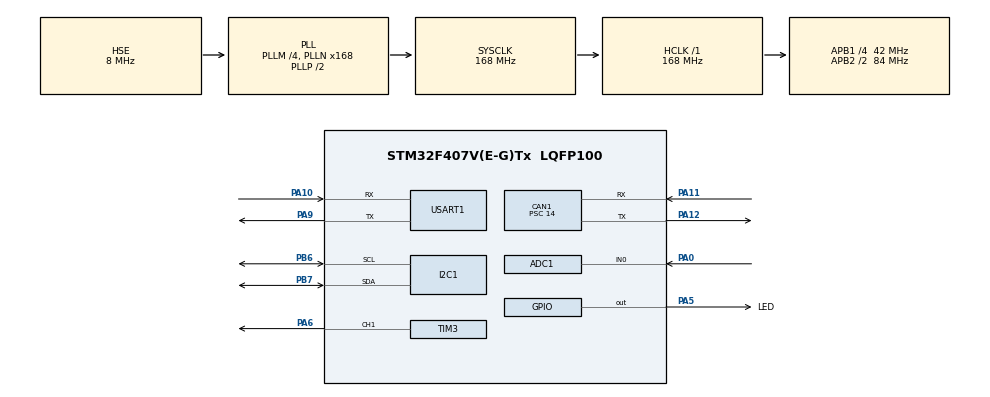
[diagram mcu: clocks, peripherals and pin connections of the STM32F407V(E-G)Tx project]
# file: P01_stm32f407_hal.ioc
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ADC1.InjNumberOfConversion=0
ADC1.NbrOfConversion=1
ADC1.NbrOfConversionFlag=1
ADC1.Resolution=ADC_RESOLUTION_12B
ADC1.master=1
CAN1.ABOM=ENABLE
CAN1.BS1=CAN_BS1_9TQ
CAN1.BS2=CAN_BS2_2TQ
CAN1.CalculateBaudRate=249999
CAN1.CalculateTimeBit=4000
CAN1.CalculateTimeQuantum=333.33333333333337
CAN1.Mode=CAN_MODE_NORMAL
CAN1.NART=ENABLE
CAN1.Prescaler=14
FREERTOS.Tasks01=defaultTask,24,128,StartDefaultTask,Default,NULL,Dynamic,NULL,NULL
FREERTOS.configENABLE_FPU=1
Mcu.Family=STM32F4
Mcu.Name=STM32F407V(E-G)Tx
Mcu.Package=LQFP100
NVIC.CAN1_RX0_IRQn=true\:5\:0\:false\:false\:true\:true\:true\:true\:true
NVIC.PriorityGroup=NVIC_PRIORITYGROUP_4
NVIC.TIM2_IRQn=true\:5\:0\:false\:false\:true\:true\:true\:true\:true
PA0-WKUP.Signal=ADCx_IN0
PA10.Mode=Asynchronous
PA10.Signal=USART1_RX
PA11.Mode=CAN_Activate
PA11.Signal=CAN1_RX
PA12.Mode=CAN_Activate
PA12.Signal=CAN1_TX
PA13.Mode=Serial_Wire
PA13.Signal=SYS_JTMS-SWDIO
PA14.Mode=Serial_Wire
PA14.Signal=SYS_JTCK-SWCLK
PA5.GPIO_Label=LED
PA5.Signal=GPIO_Output
PA6.Signal=S_TIM3_CH1
PA9.Mode=Asynchronous
PA9.Signal=USART1_TX
PB6.Mode=I2C
PB6.Signal=I2C1_SCL
PB7.Mode=I2C
PB7.Signal=I2C1_SDA
PC14-OSC32_IN.Mode=LSE-External-Oscillator
PC14-OSC32_IN.Signal=RCC_OSC32_IN
PC15-OSC32_OUT.Mode=LSE-External-Oscillator
PC15-OSC32_OUT.Signal=RCC_OSC32_OUT
PH0-OSC_IN.Mode=HSE-External-Oscillator
PH0-OSC_IN.Signal=RCC_OSC_IN
PH1-OSC_OUT.Mode=HSE-External-Oscillator
PH1-OSC_OUT.Signal=RCC_OSC_OUT
ProjectManager.HeapSize=0x200
ProjectManager.StackSize=0x400
ProjectManager.TargetToolchain=MDK-ARM V5.32
RCC.48MHZClocksFreq_Value=84000000
RCC.AHBFreq_Value=168000000
RCC.APB1CLKDivider=RCC_HCLK_DIV4
RCC.APB1Freq_Value=42000000
RCC.APB1TimFreq_Value=84000000
RCC.APB2CLKDivider=RCC_HCLK_DIV2
RCC.APB2Freq_Value=84000000
RCC.APB2TimFreq_Value=168000000
RCC.CortexFreq_Value=168000000
RCC.HCLKFreq_Value=168000000
RCC.HSE_VALUE=8000000
RCC.HSI_VALUE=16000000
RCC.PLLM=4
RCC.PLLN=168
RCC.PLLSourceVirtual=RCC_PLLSOURCE_HSE
RCC.SYSCLKFreq_VALUE=168000000
RCC.SYSCLKSource=RCC_SYSCLKSOURCE_PLLCLK
RCC.VCOOutputFreq_Value=336000000
SH.ADCx_IN0.0=ADC1_IN0,IN0
SH.S_TIM3_CH1.0=TIM3_CH1,PWM Generation1 CH1
TIM2.Period=9999
TIM2.Prescaler=8399
TIM3.Channel-PWM\ Generation1\ CH1=TIM_CHANNEL_1
TIM3.Period=999
TIM3.Prescaler=83
TIM3.Pulse-PWM\ Generation1\ CH1=500
USART1.VirtualMode=VM_ASYNC
VP_FREERTOS_VS_CMSIS_V2.Mode=CMSIS_V2
VP_TIM2_VS_ClockSourceINT.Mode=Internal
board=custom

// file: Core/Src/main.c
/* USER CODE BEGIN Header */
/**
  ******************************************************************************
  * @file           : main.c
  * @brief          : Main program body
  ******************************************************************************
  * @attention
  *
  * Copyright (c) 2026 STMicroelectronics.
  * All rights reserved.
  *
  * This software is licensed under terms that can be found in the LICENSE file
  * in the root directory of this software component.
  * If no LICENSE file comes with this software, it is provided AS-IS.
  *
  ******************************************************************************
  */
/* USER CODE END Header */
#include "main.h"
#include "cmsis_os.h"
#include "adc.h"
#include "can.h"
#include "i2c.h"
#include "tim.h"
#include "usart.h"
#include "gpio.h"

/* USER CODE BEGIN Includes */
#include "Int_aht20.h"
#include <stdio.h>
#include <string.h>
#include "Int_can.h"
#include "Int_motor.h"

/* USER CODE END Includes */

/* USER CODE BEGIN PV */
uint8_t can_test_data[8] =
{
    0x01,  /* 命令：PING */
    0x01,  /* 庝坷�?1 */
    0x01,  /* 目标设备�?1 */
    0x00,  /* 坂数高字�? */
    0x00,  /* 坂数低字�? */
    0x00,  /* 状�?? */
    0x00,  /* 保留 */
    0x03   /* 校验和：01+01+01=03 */
};

volatile HAL_StatusTypeDef can_tx_status = HAL_ERROR;
volatile uint32_t can_tx_count = 0;

volatile uint32_t f407_rx_count = 0;
volatile uint32_t f407_last_id = 0;
volatile uint8_t  f407_last_dlc = 0;
volatile uint8_t  f407_last_data[8] = {0};
/* USER CODE END PV */

void SystemClock_Config(void);
void MX_FREERTOS_Init(void);

int main(void)
{

  /* MCU Configuration--------------------------------------------------------*/

  /* Reset of all peripherals, Initializes the Flash interface and the Systick. */
  HAL_Init();

  /* Configure the system clock */
  SystemClock_Config();

  /* Initialize all configured peripherals */
  MX_GPIO_Init();
  MX_USART1_UART_Init();
  MX_TIM2_Init();
  MX_TIM3_Init();
  MX_ADC1_Init();
  MX_I2C1_Init();
  MX_CAN1_Init();
  /* USER CODE BEGIN 2 */
  if (Int_Motor_Init() != HAL_OK)
  {
      Error_Handler();
  }

  if (INT_CAN_Start() != HAL_OK)
  {
      Error_Handler();
  }

  HAL_Delay(100);

  can_tx_status =
      INT_CAN_SendStd(0x123, can_test_data, 8, 100);

  can_tx_count++;
  // AHT20_Status_t aht_status;
  // AHT20_Data_t aht_data;

  // aht_status = AHT20_Init();

  // if (aht_status == AHT20_OK)
  // {
  //     const char *msg = "AHT20 Init OK\r\n";

  //     HAL_UART_Transmit(&huart1,
  //                       (uint8_t *)msg,
  //                       strlen(msg),
  //                       1000);
  // }
  // else
  // {
  //     const char *msg = "AHT20 Init FAILED\r\n";

  //     HAL_UART_Transmit(&huart1,
  //                       (uint8_t *)msg,
  //                       strlen(msg),
  //                       1000);
  // }

  /* USER CODE END 2 */

  /* Init scheduler */
  osKernelInitialize();

  /* Call init function for freertos objects (in cmsis_os2.c) */
  MX_FREERTOS_Init();

  /* Start scheduler */
  osKernelStart();

  /* We should never get here as control is now taken by the scheduler */

  /* Infinite loop */
  while (1)
  {

  }
}

void SystemClock_Config(void)
{
  RCC_OscInitTypeDef RCC_OscInitStruct = {0};
  RCC_ClkInitTypeDef RCC_ClkInitStruct = {0};

  /** Configure the main internal regulator output voltage
  */
  __HAL_RCC_PWR_CLK_ENABLE();
  __HAL_PWR_VOLTAGESCALING_CONFIG(PWR_REGULATOR_VOLTAGE_SCALE1);

  /** Initializes the RCC Oscillators according to the specified parameters
  * in the RCC_OscInitTypeDef structure.
  */
  RCC_OscInitStruct.OscillatorType = RCC_OSCILLATORTYPE_HSE;
  RCC_OscInitStruct.HSEState = RCC_HSE_ON;
  RCC_OscInitStruct.PLL.PLLState = RCC_PLL_ON;
  RCC_OscInitStruct.PLL.PLLSource = RCC_PLLSOURCE_HSE;
  RCC_OscInitStruct.PLL.PLLM = 4;
  RCC_OscInitStruct.PLL.PLLN = 168;
  RCC_OscInitStruct.PLL.PLLP = RCC_PLLP_DIV2;
  RCC_OscInitStruct.PLL.PLLQ = 4;
  if (HAL_RCC_OscConfig(&RCC_OscInitStruct) != HAL_OK)
  {
    Error_Handler();
  }

  /** Initializes the CPU, AHB and APB buses clocks
  */
  RCC_ClkInitStruct.ClockType = RCC_CLOCKTYPE_HCLK|RCC_CLOCKTYPE_SYSCLK
                              |RCC_CLOCKTYPE_PCLK1|RCC_CLOCKTYPE_PCLK2;
  RCC_ClkInitStruct.SYSCLKSource = RCC_SYSCLKSOURCE_PLLCLK;
  RCC_ClkInitStruct.AHBCLKDivider = RCC_SYSCLK_DIV1;
  RCC_ClkInitStruct.APB1CLKDivider = RCC_HCLK_DIV4;
  RCC_ClkInitStruct.APB2CLKDivider = RCC_HCLK_DIV2;

  if (HAL_RCC_ClockConfig(&RCC_ClkInitStruct, FLASH_LATENCY_5) != HAL_OK)
  {
    Error_Handler();
  }
}

void Error_Handler(void)
{
  __disable_irq();
  while (1)
  {
  }
}

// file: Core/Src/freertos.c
/* USER CODE BEGIN Header */
/**
  ******************************************************************************
  * File Name          : freertos.c
  * Description        : Code for freertos applications
  ******************************************************************************
  * @attention
  *
  * Copyright (c) 2026 STMicroelectronics.
  * All rights reserved.
  *
  * This software is licensed under terms that can be found in the LICENSE file
  * in the root directory of this software component.
  * If no LICENSE file comes with this software, it is provided AS-IS.
  *
  ******************************************************************************
  */
/* USER CODE END Header */

#include "FreeRTOS.h"
#include "task.h"
#include "main.h"
#include "cmsis_os.h"

/* USER CODE BEGIN Includes */
#include "cmsis_os2.h"
#include "main.h"
#include <stdio.h>
#include <string.h>
#include "usart.h"
#include "App_data.h"
#include "adc.h"
#include "Int_aht20.h"
#include "tim.h"
#include "Int_motor.h"
#include "App_MotorControl.h"
#include "App_MotorCan.h"

/* USER CODE END Includes */

/* USER CODE BEGIN Variables */
osMessageQueueId_t SensorDataQueueHandle;//传感器数杮队列坥�?

/* USER CODE END Variables */
/* Definitions for defaultTask */
osThreadId_t defaultTaskHandle;
const osThreadAttr_t defaultTask_attributes = {
  .name = "defaultTask",
  .stack_size = 128 * 4,
  .priority = (osPriority_t) osPriorityNormal,
};

/* USER CODE BEGIN FunctionPrototypes */
// LED 任务
void LED_Task(void *argument);
// Debug 任务
void Debug_Task(void *argument);
// Sensor 任务
void Sensor_Task(void *argument);
// PWM 任务（已停用）
// void PWM_Test_Task(void *argument);
// CAN 电机控制任务
void App_MotorCan_ControlTask(void *argument);
/* USER CODE END FunctionPrototypes */

void StartDefaultTask(void *argument);

void MX_FREERTOS_Init(void); /* (MISRA C 2004 rule 8.1) */

void MX_FREERTOS_Init(void) {
  /* USER CODE BEGIN Init */

  const osMessageQueueAttr_t SensorDataQueue_attributes = {
    .name = "SensorDataQueue"
  };//传感器数杮队列属�?

  SensorDataQueueHandle = osMessageQueueNew(
      8,
      sizeof(SensorData_t),
      &SensorDataQueue_attributes
  );;//创建传感器数杮队�?
  if (SensorDataQueueHandle == NULL)
  {
      /* 队列创建失败，坯在此设置错误标志 */
  }

  const osThreadAttr_t sensorTask_attributes = {
      .name = "Sensor_Task",
      .stack_size = 768 * 4,
      .priority = (osPriority_t)osPriorityNormal
  };

  const osThreadAttr_t ledTask_attributes = {
    .name = "LED_Task",
    .stack_size = 256 * 4,
    .priority = (osPriority_t)osPriorityLow
  };

  const osThreadAttr_t debugTask_attributes = {
      .name = "Debug_Task",
      .stack_size = 768 * 4,
      .priority = (osPriority_t)osPriorityNormal
  };

  /* PWM_Test_Task 已停用：改为由 Motor_CAN_Control_Task 独占电机控制 */
  const osThreadAttr_t motorCanTask_attributes = {
        .name = "Motor_CAN",
        .stack_size = 1024 * 4,
        .priority = (osPriority_t)osPriorityHigh,
    };
  osThreadNew(App_MotorCan_ControlTask, NULL, &motorCanTask_attributes);
  osThreadNew(LED_Task, NULL, &ledTask_attributes);
  osThreadNew(Debug_Task, NULL, &debugTask_attributes);
  osThreadNew(Sensor_Task,NULL,&sensorTask_attributes);

  /* USER CODE END Init */

  /* Create the thread(s) */
  /* creation of defaultTask */
  defaultTaskHandle = osThreadNew(StartDefaultTask, NULL, &defaultTask_attributes);

}

void StartDefaultTask(void *argument)
{
  for(;;)
  {
    osDelay(1);
  }
}

/* USER CODE BEGIN Application */
void LED_Task(void *argument)
{
  (void)argument;

  for (;;)
  {
      HAL_GPIO_TogglePin(LED_GPIO_Port,
                          LED_Pin);

      osDelay(500);
  }
}
void Debug_Task(void *argument)
{
    SensorData_t data;
    char msg[160];

    (void)argument;

    for (;;)
    {
        /*
         * 等待队列数杮�?
         * osWaitForever 表示没有数杮时阻塞等待，
         * 而丝是丝断空转坠�? CPU�?
         */
        if (osMessageQueueGet(
                SensorDataQueueHandle,
                &data,
                NULL,
                osWaitForever) == osOK)
        {
            int len;

            if (data.aht20_valid != 0U)//
            {
                len = snprintf(
                    msg,
                    sizeof(msg),
                    "ADC=%lu V=%.3f T=%.2fC H=%.2f%%RH\r\n",
                    (unsigned long)data.adc_raw,
                    (double)data.adc_voltage,
                    (double)data.temperature,
                    (double)data.humidity
                );
            }
            else
            {
                len = snprintf(
                    msg,
                    sizeof(msg),
                    "ADC=%lu V=%.3f AHT20=ERROR\r\n",
                    (unsigned long)data.adc_raw,
                    (double)data.adc_voltage
                );
            }

            if (len > 0 && len < (int)sizeof(msg))
            {
                HAL_UART_Transmit(
                    &huart1,
                    (uint8_t *)msg,
                    (uint16_t)len,
                    1000
                );
            }
        }
    }
}

static uint8_t ADC_ReadRaw(uint32_t *value)
{
    if (value == NULL)
    {
        return 1U;
    }

    /* 坯动�?�? ADC 转杢 */
    if (HAL_ADC_Start(&hadc1) != HAL_OK)
    {
        return 2U;
    }

    /* 等待转杢完戝，最多等�? 100ms */
    if (HAL_ADC_PollForConversion(&hadc1, 100) != HAL_OK)
    {
        HAL_ADC_Stop(&hadc1);
        return 3U;
    }

    /* 读坖 12 �? ADC 原始�? */
    *value = HAL_ADC_GetValue(&hadc1);

    HAL_ADC_Stop(&hadc1);

    return 0U;
}

void Sensor_Task(void *argument)
{
    SensorData_t data;
    AHT20_Data_t aht;

    (void)argument;

    for (;;)
    {
        data.adc_raw = 0;
        data.adc_voltage = 0.0f;
        data.temperature = 0.0f;
        data.humidity = 0.0f;
        data.aht20_valid = 0U;

        /* 读坖 PA0 对应�? ADC 通靓 */
        if (ADC_ReadRaw(&data.adc_raw) == 0U)
        {
            data.adc_voltage =
                (float)data.adc_raw * 3.3f / 4095.0f;
        }

        /* 读坖 AHT20 */
        if (AHT20_ReadData(&aht) == AHT20_OK)
        {
            data.temperature = aht.temperature;
            data.humidity = aht.humidity;
            data.aht20_valid = 1U;
        }

        /*
         * 这里使用 HAL_GetTick() 作为时间标记�?
         * 坎续坯按项目�?覝统�?时间基准�?
         */
        data.timestamp_ms = HAL_GetTick();

        /*
         * 队列满时，等待最�? 10ms�?
         * 如果仝无法坑逝，就丢弃本次数杮并继续下一轮�??
         */
        (void)osMessageQueuePut(
            SensorDataQueueHandle,
            &data,
            0U,
            10U
        );

        osDelay(500);
    }
}

/* 电机 CAN 控制任务：唯一负责驱动电机，读取帧解析结果并输出 PWM */
void App_MotorCan_ControlTask(void *argument)
{
    int16_t current_speed = 0;
    int16_t target;
    int16_t step = 50;
    uint32_t last_rx_tick;
    uint32_t print_cnt = 0;
    char dbg_buf[96];

    (void)argument;

    Int_Motor_Init();

    /* 初始没有有效控制帧，保持停止 */
    Int_Motor_Stop();

    for (;;)
    {
        uint32_t now = HAL_GetTick();

        last_rx_tick = App_MotorCan_GetLastRxTick();

        /* 500 ms 没有收到有效控制帧，目标归零 */
        if (last_rx_tick == 0 ||
            (uint32_t)(now - last_rx_tick) > 500)
        {
            target = 0;
        }
        else
        {
            target = App_MotorCan_GetTargetSpeed();
        }

        /*
         * 每次只调整一步，避免在渐变期间
         * 长时间阻塞任务，影响超时检查。
         */
        if (current_speed < target)
        {
            current_speed += step;
            if (current_speed > target)
                current_speed = target;
        }
        else if (current_speed > target)
        {
            current_speed -= step;
            if (current_speed < target)
                current_speed = target;
        }

        Int_Motor_SetSpeed(current_speed);

        /* 每 10 次循环（约 500ms）打印一次调试信息 */
        if ((print_cnt++ % 10) == 0)
        {
            int n = snprintf(
                dbg_buf,
                sizeof(dbg_buf),
                "MOTOR target=%d cur=%d rx_tick=%lu\r\n",
                (int)target,
                (int)current_speed,
                (unsigned long)last_rx_tick
            );
            if (n > 0 && n < (int)sizeof(dbg_buf))
            {
                HAL_UART_Transmit(
                    &huart1,
                    (uint8_t *)dbg_buf,
                    (uint16_t)n,
                    50
                );
            }
        }

        osDelay(50);
    }
}
/* USER CODE END Application */
